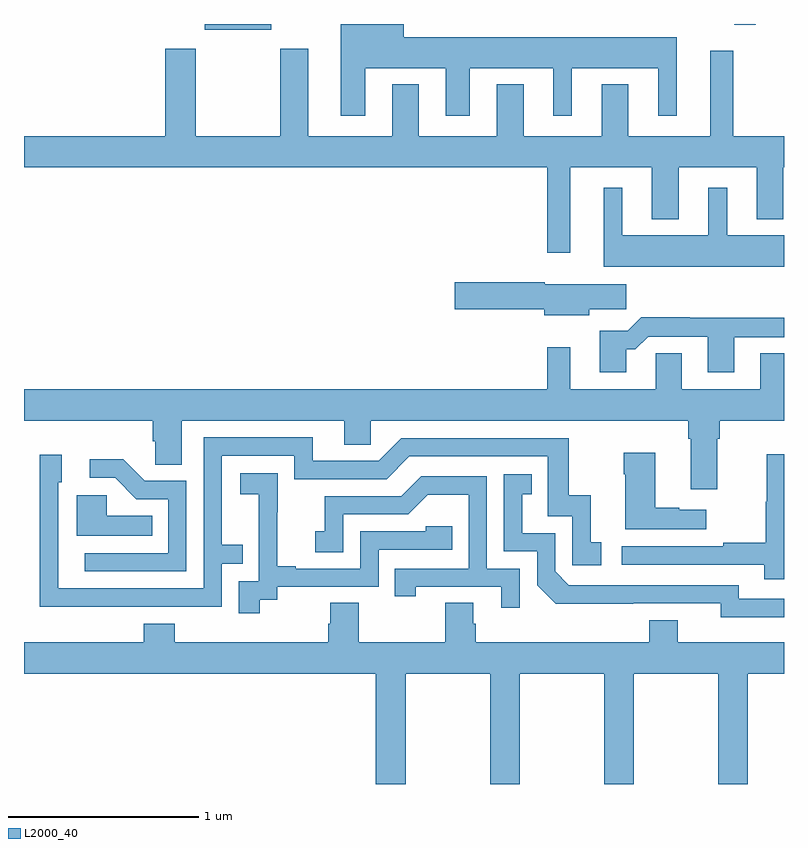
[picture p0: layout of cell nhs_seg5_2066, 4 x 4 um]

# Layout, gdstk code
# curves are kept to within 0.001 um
import gdstk
lib = gdstk.Library(unit=1e-6, precision=1e-09)
def R(c, l, rs):  # rectangles x0, y0, x1, y1
    for r in rs: c.add(gdstk.rectangle(r[:2], r[2:], *l))
def P(c, l, *ps):  # polygons
    for p in ps: c.add(gdstk.Polygon(p, *l))
L2000_40 = (2000, 40)

nhs_seg5_2066 = lib.new_cell('nhs_seg5_2066')
R(nhs_seg5_2066, L2000_40, [(231.95,906.77,232.3,906.799), (234.737,906.794,234.85,906.799)])
P(nhs_seg5_2066, L2000_40, [(232.795,906.566),(233.219,906.566),(233.219,906.315),(233.347,906.315),(233.347,906.566),(233.786,906.566),(233.786,906.315),(233.884,906.315),(233.884,906.566),(234.338,906.566),(234.338,906.315),(234.436,906.315),(234.436,906.73),(232.999,906.73),(232.999,906.799),(232.667,906.799),(232.667,906.315),(232.795,906.315)],
  [(233.875,906.044),(234.305,906.044),(234.305,905.771),(234.445,905.771),(234.445,906.044),(234.857,906.044),(234.857,905.771),(234.997,905.771),(234.997,906.044),(235,906.044),(235,906.208),(234.733,906.208),(234.733,906.658),(234.611,906.658),(234.611,906.208),(234.181,906.208),(234.181,906.481),(234.041,906.481),(234.041,906.208),(233.629,906.208),(233.629,906.481),(233.489,906.481),(233.489,906.208),(233.077,906.208),(233.077,906.481),(232.937,906.481),(232.937,906.208),(232.495,906.208),(232.495,906.67),(232.348,906.67),(232.348,906.208),(231.903,906.208),(231.903,906.67),(231.743,906.67),(231.743,906.208),(231,906.208),(231,906.044),(233.754,906.044),(233.754,905.595),(233.875,905.595)],
  [(235,905.686),(234.7,905.686),(234.7,905.938),(234.602,905.938),(234.602,905.686),(234.148,905.686),(234.148,905.938),(234.05,905.938),(234.05,905.522),(235,905.522)],
  [(233.974,905.299),(234.169,905.299),(234.169,905.428),(233.742,905.428),(233.742,905.441),(233.268,905.441),(233.268,905.299),(233.738,905.299),(233.738,905.267),(233.974,905.267)],
  [(234.169,905.087),(234.218,905.087),(234.285,905.154),(234.599,905.154),(234.599,904.965),(234.739,904.965),(234.739,905.151),(235,905.151),(235,905.252),(234.503,905.252),(234.503,905.255),(234.248,905.255),(234.178,905.185),(234.029,905.185),(234.029,904.965),(234.169,904.965)],
  [(234.649,904.616),(234.662,904.616),(234.662,904.712),(235,904.712),(235,905.066),(234.875,905.066),(234.875,904.876),(234.463,904.876),(234.463,905.066),(234.324,905.066),(234.324,904.876),(233.875,904.876),(233.875,905.098),(233.754,905.098),(233.754,904.876),(231,904.876),(231,904.712),(231.677,904.712),(231.677,904.603),(231.69,904.603),(231.69,904.48),(231.829,904.48),(231.829,904.712),(232.685,904.712),(232.685,904.585),(232.824,904.585),(232.824,904.712),(234.497,904.712),(234.497,904.616),(234.509,904.616),(234.509,904.35),(234.649,904.35)],
  [(231.545,903.732),(232.041,903.732),(232.041,903.957),(232.151,903.957),(232.151,904.058),(232.041,904.058),(232.041,904.527),(232.422,904.527),(232.422,904.404),(232.908,904.404),(233.028,904.524),(233.757,904.524),(233.757,904.209),(233.886,904.209),(233.886,903.951),(234.037,903.951),(234.037,904.071),(233.984,904.071),(233.984,904.318),(233.866,904.318),(233.866,904.62),(232.986,904.62),(232.866,904.5),(232.519,904.5),(232.519,904.623),(231.945,904.623),(231.945,903.828),(231.181,903.828),(231.18,904.386),(231.199,904.386),(231.199,904.531),(231.084,904.531),(231.084,904.037),(231.082,904.037),(231.082,903.731)],
  [(234.592,904.243),(234.449,904.243),(234.449,904.253),(234.322,904.253),(234.322,904.543),(234.157,904.543),(234.157,904.43),(234.164,904.43),(234.164,904.139),(234.592,904.139)],
  [(235,904.534),(234.91,904.534),(234.91,904.284),(234.903,904.284),(234.903,904.07),(234.679,904.07),(234.679,904.05),(234.147,904.05),(234.147,903.954),(234.895,903.954),(234.895,903.876),(235,903.876)],
  [(231.855,904.395),(231.636,904.395),(231.523,904.508),(231.345,904.508),(231.345,904.41),(231.479,904.41),(231.59,904.299),(231.759,904.299),(231.759,904.014),(231.321,904.014),(231.321,903.918),(231.855,903.918)],
  [(232.24,903.769),(232.332,903.769),(232.332,903.837),(232.866,903.837),(232.866,904.032),(233.255,904.032),(233.255,904.155),(233.115,904.155),(233.115,904.128),(232.77,904.128),(232.77,903.933),(232.429,903.933),(232.429,903.946),(232.334,903.946),(232.334,904.229),(232.335,904.229),(232.335,904.435),(232.137,904.435),(232.137,904.325),(232.235,904.325),(232.235,904.097),(232.236,904.097),(232.236,903.867),(232.131,903.867),(232.131,903.699),(232.24,903.699)],
  [(235,903.774),(234.762,903.774),(234.762,903.846),(233.868,903.846),(233.796,903.918),(233.796,904.119),(233.623,904.119),(233.623,904.323),(233.672,904.323),(233.672,904.429),(233.526,904.429),(233.526,904.023),(233.7,904.023),(233.7,903.846),(233.798,903.749),(234.666,903.75),(234.666,903.677),(235,903.677)],
  [(233.61,903.933),(233.436,903.933),(233.436,904.419),(233.09,904.419),(232.985,904.314),(232.582,904.314),(232.582,904.129),(232.533,904.129),(232.533,904.02),(232.68,904.02),(232.68,904.218),(233.022,904.218),(233.126,904.322),(233.34,904.322),(233.34,903.933),(232.951,903.933),(232.951,903.786),(233.062,903.786),(233.062,903.837),(233.513,903.837),(233.513,903.726),(233.61,903.726)],
  [(231.674,904.21),(231.435,904.21),(231.435,904.318),(231.278,904.318),(231.278,904.106),(231.674,904.106)],
  [(233.378,903.642),(233.365,903.642),(233.365,903.752),(233.218,903.752),(233.218,903.544),(232.761,903.544),(232.761,903.752),(232.613,903.752),(232.613,903.642),(232.601,903.642),(232.601,903.544),(231.794,903.544),(231.794,903.643),(231.629,903.643),(231.629,903.544),(231,903.544),(231,903.38),(232.85,903.38),(232.85,902.799),(233.01,902.799),(233.01,903.38),(233.455,903.38),(233.455,902.799),(233.61,902.799),(233.61,903.38),(234.055,903.38),(234.055,902.799),(234.21,902.799),(234.21,903.38),(234.655,903.38),(234.655,902.799),(234.81,902.799),(234.81,903.38),(235,903.38),(235,903.544),(234.442,903.544),(234.442,903.661),(234.29,903.661),(234.29,903.544),(233.378,903.544)])

lib.write_gds('nhs_seg5_2066.gds')
